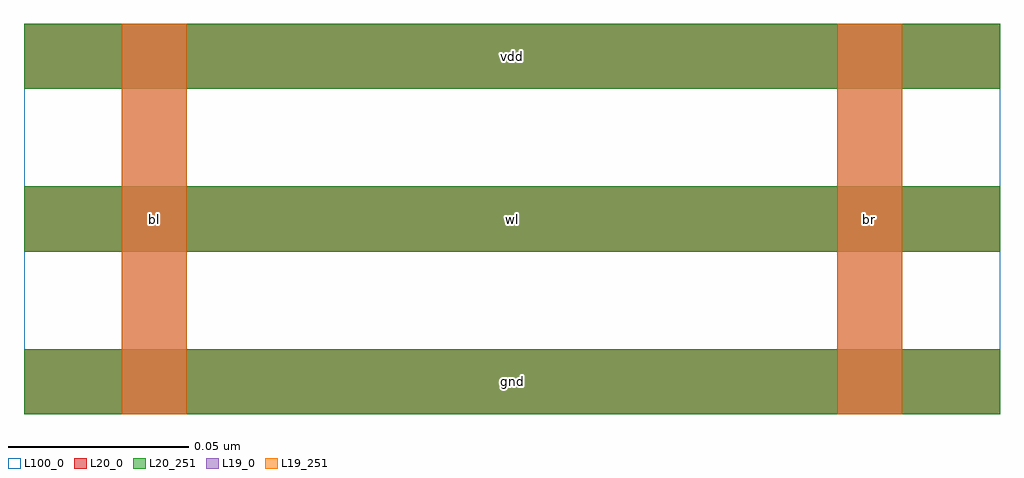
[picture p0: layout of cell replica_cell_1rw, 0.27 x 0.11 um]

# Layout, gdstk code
import gdstk
lib = gdstk.Library(unit=1e-6, precision=2.5e-10)
def R(c, l, rs):  # rectangles x0, y0, x1, y1
    for r in rs: c.add(gdstk.rectangle(r[:2], r[2:], *l))
def A(c, l, x, y, w, h, nx, ny, dx, dy):  # array of equal rectangles
    R(c, l, [(x+i*dx, y+j*dy, x+i*dx+w, y+j*dy+h) for i in range(nx) for j in range(ny)])
L19_0 = (19, 0)
L19_251 = (19, 251)
L20_0 = (20, 0)
L20_251 = (20, 251)
L100_0 = (100, 0)

replica_cell_1rw = lib.new_cell('replica_cell_1rw')
R(replica_cell_1rw, L19_0, [(0.027,0,0.045,0.108), (0.225,0,0.243,0.108)])
R(replica_cell_1rw, L19_251, [(0.027,0,0.045,0.108), (0.225,0,0.243,0.108)])
A(replica_cell_1rw, L20_0, 0, 0, 0.27, 0.018, 1, 3, 0, 0.045)
A(replica_cell_1rw, L20_251, 0, 0, 0.27, 0.018, 1, 3, 0, 0.045)
R(replica_cell_1rw, L100_0, [(0,0,0.27,0.108)])
replica_cell_1rw.add(gdstk.Label('bl', (0.036,0.054), layer=19, texttype=251))
replica_cell_1rw.add(gdstk.Label('br', (0.234,0.054), layer=19, texttype=251))
replica_cell_1rw.add(gdstk.Label('gnd', (0.135,0.009), layer=20, texttype=251))
replica_cell_1rw.add(gdstk.Label('wl', (0.135,0.054), layer=20, texttype=251))
replica_cell_1rw.add(gdstk.Label('vdd', (0.135,0.099), layer=20, texttype=251))

lib.write_gds('replica_cell_1rw.gds')
